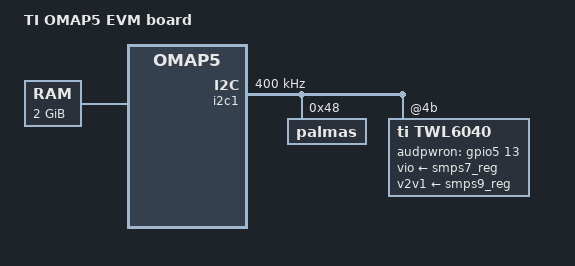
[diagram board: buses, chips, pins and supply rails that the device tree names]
/*
 * Copyright (C) 2012 Texas Instruments Incorporated - http://www.ti.com/
 *
 * This program is free software; you can redistribute it and/or modify
 * it under the terms of the GNU General Public License version 2 as
 * published by the Free Software Foundation.
 */
/dts-v1/;

/include/ "omap5.dtsi"

/ {
	model = "TI OMAP5 EVM board";
	compatible = "ti,omap5-panda", "ti,omap5";

	memory {
		device_type = "memory";
		reg = <0x80000000 0x80000000>; /* 2 GB */
	};

	sound {
		compatible = "ti,abe-twl6040";
		ti,model = "PandaBoard5";

		ti,jack-detection = <1>;
		ti,mclk-freq = <19200000>;

		ti,mcpdm = <&mcpdm>;
		ti,mcbsp1 = <&mcbsp1>;
		ti,mcbsp2 = <&mcbsp2>;
		ti,aess = <&aess>;

		ti,twl6040 = <&twl6040>;

		/* Audio routing */
		ti,audio-routing =
			"Headset Stereophone", "HSOL",
			"Headset Stereophone", "HSOR",
			"Line Out", "AUXL",
			"Line Out", "AUXR",
			"HSMIC", "Headset Mic",
			"Headset Mic", "Headset Mic Bias",
			"AFML", "Line In",
			"AFMR", "Line In",
			"Headset Playback", "PDM_DL1",
			"PDM_UL1", "PDM Capture",
			"omap-mcbsp.1 Playback", "BT_VX_DL",
			"BT_VX_UL", "omap-mcbsp.1 Capture",
			"omap-mcbsp.2 Playback", "MM_EXT_DL",
			"MM_EXT_UL", "omap-mcbsp.2 Capture";
	};
};

&i2c1 {
	clock-frequency = <400000>;

	palmas: palmas@48 {
		reg = <0x48>;
		/* SPI = 0, IRQ# = 7, 4 = active high level-sensitive */
		interrupts = <0 7 4>; /* IRQ_SYS_1N cascaded to gic */
		interrupt-parent = <&gic>;
	};

	twl6040: twl@4b {
		compatible = "ti,twl6040";

		interrupts = <0 119 4>; /* IRQ_SYS_2N cascaded to gic */
		interrupt-parent = <&gic>;
		ti,audpwron-gpio = <&gpio5 13 0>;  /* gpio line 141 */

		vio-supply = <&smps7_reg>;
		v2v1-supply = <&smps9_reg>;
		enable-active-high;
	};
};

&pad_core_mux {
	pinctrl-names = "default";
	pinctrl-0 = <&audio_core_pin>;

	audio_core_pin: audio_core_pins {
				/* TRM offset - 0x40, bits, mask */
		pinctrl-single,bits = <0x142 0x0400 0x041f>, /* ABE_CLKS */
				      <0x15c 0x0400 0x041f>, /* ABEMCPDM_UL_DATA */
				      <0x15e 0x0000 0x041f>, /* ABEMCPDM_DL_DATA */
				      <0x160 0x0400 0x041f>, /* ABEMCPDM_FRAME */
				      <0x162 0x0000 0x041f>, /* ABEMCPDM_LB_CLK */
				      <0x17e 0x000e 0x041f>; /* GPIO5 141 */
	};
};

&pad_wkup_mux {
	pinctrl-names = "default";
	pinctrl-0 = <&audio_wkup_pin>;

	audio_wkup_pin: audio_wkup_pins {
				/* TRM offset - 0x40, bits, mask */
		pinctrl-single,bits = <0x2a 0x0400 0x041f>; /* SYS_NIRQ2 */
	};
};

/include/ "palmas.dtsi"
/include/ "twl6040.dtsi"
